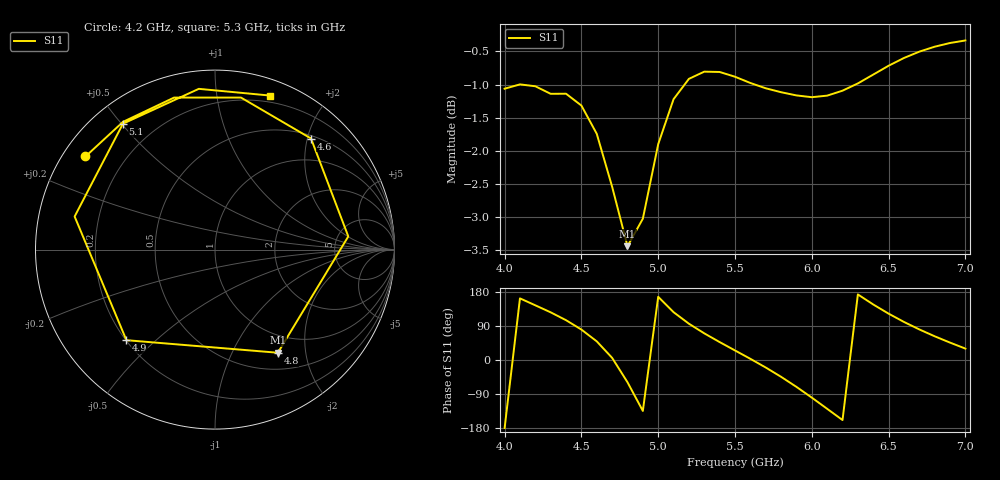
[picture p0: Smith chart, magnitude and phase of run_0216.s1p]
! Touchstone file exported from HFSS 2024.2.0
!  File:  C:/Users/wsak9/Desktop/Sim Fast/Widenad Patch/WP_AI_V1_sweep.aedt
!  Generated:  11:59:30 PM Oct 13, 2026
!  Design:  A1_model
!  Project:  WP_AI_V1_sweep
!  Setup:  Setup1
!  Solution:  Sweep
! Variables:
!  Air_gap = 3.8mm
!  Curve_Amp1 = 2.22
!  Curve_len1 = 1
!  Curve_pos = 12.465mm
!  Extra = 3.83mm
!  H_sub = 0.79mm
!  L_Patch = 20.93mm
!  L_Patch1 = 19.48mm
!  Sx = 1.46mm
!  Sy = 0.24mm
!  WS = 1.21mm
!  W_Patch = 11.82mm
!  W_Patch1 = 15.65mm
!Data is not renormalized
# GHz S MA
! Terminal data exported
! Port[1] = 1
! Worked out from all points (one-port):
!   31 points, 4 GHz to 7 GHz, reference per port
!   lowest |S11| = -3.4 dB at 4.8 GHz (marker M1), VSWR 5.12
!   |S11| at or under -10 dB: nowhere
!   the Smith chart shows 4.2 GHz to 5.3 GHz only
!   S11 on the Smith chart (normalised r, x): 4.2 GHz: 0.07, +0.32; 4.6 GHz: 0.55, +2.07; 4.8 GHz: 0.73, -1.53; 4.9 GHz: 0.20, -0.41; 5.1 GHz: 0.09, +0.50; 5.3 GHz: 0.14, +1.41
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4  0.8849 -179.6
4.2  0.8886 144.3
4.4  0.8772 105.0
4.5  0.8593 80.3
4.6  0.8181 49.2
4.7  0.7462 5.6
4.8  0.673 -58.6
4.9  0.7059 -134.4
5  0.8035 166.7
5.1  0.8689 126.2
5.2  0.9002 95.7
5.3  0.9115 70.3
5.4  0.911 47.3
5.5  0.9035 25.2
5.6  0.8937 3.1
5.7  0.8855 -19.8
5.8  0.8795 -44.4
5.9  0.8746 -70.9
6  0.8719 -99.3
6.1  0.8743 -128.8
6.2  0.8818 -158.5
6.3  0.893 173.0
6.4  0.9069 146.5
6.5  0.9209 122.3
6.6  0.9334 100.5
6.7  0.9437 80.7
6.8  0.9519 62.6
7  0.9623 30.1
